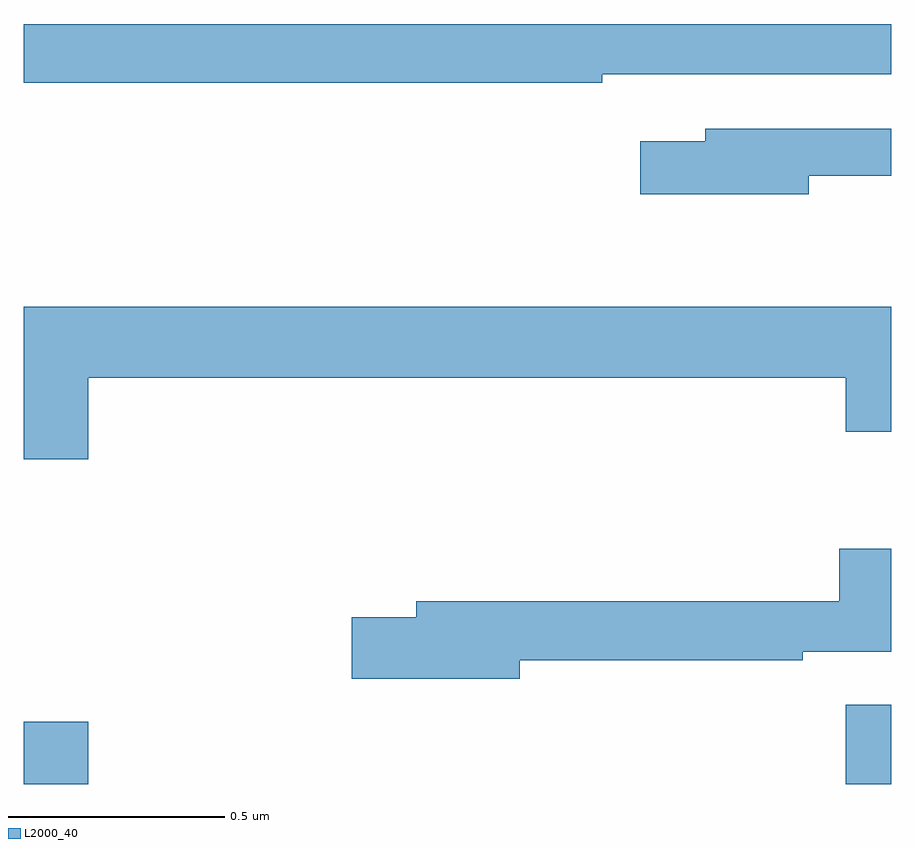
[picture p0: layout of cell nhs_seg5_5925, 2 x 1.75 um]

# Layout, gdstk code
import gdstk
lib = gdstk.Library(unit=1e-6, precision=1e-09)
def R(c, l, rs):  # rectangles x0, y0, x1, y1
    for r in rs: c.add(gdstk.rectangle(r[:2], r[2:], *l))
def P(c, l, *ps):  # polygons
    for p in ps: c.add(gdstk.Polygon(p, *l))
L2000_40 = (2000, 40)

nhs_seg5_5925 = lib.new_cell('nhs_seg5_5925')
R(nhs_seg5_5925, L2000_40, [(189,879.799,189.148,879.943), (190.895,879.799,191,879.982)])
P(nhs_seg5_5925, L2000_40, [(190.334,881.436),(191,881.436),(191,881.552),(189,881.552),(189,881.416),(190.334,881.416)],
  [(190.81,881.202),(191,881.202),(191,881.31),(190.571,881.31),(190.571,881.281),(190.422,881.281),(190.422,881.159),(190.81,881.159)],
  [(189.148,880.736),(190.895,880.736),(190.895,880.612),(191,880.612),(191,880.9),(189,880.9),(189,880.548),(189.148,880.548)],
  [(190.144,880.084),(190.796,880.084),(190.796,880.104),(191,880.104),(191,880.342),(190.88,880.342),(190.88,880.22),(189.905,880.22),(189.905,880.184),(189.756,880.184),(189.756,880.042),(190.144,880.042)])

lib.write_gds('nhs_seg5_5925.gds')
